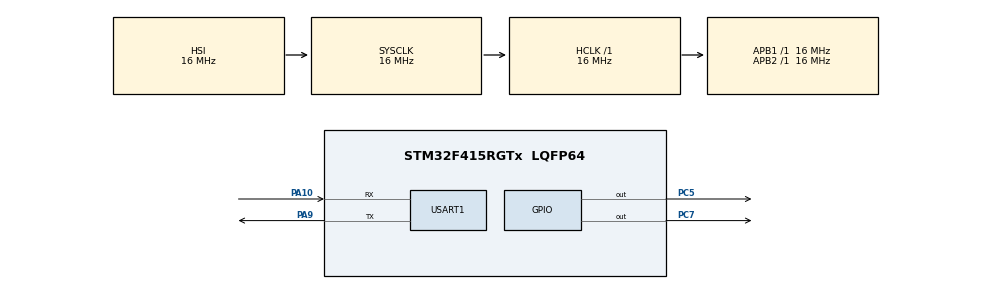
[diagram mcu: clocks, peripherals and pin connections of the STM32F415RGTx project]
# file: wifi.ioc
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Dma.Request0=USART1_RX
Dma.Request1=USART1_TX
Dma.USART1_RX.0.Direction=DMA_PERIPH_TO_MEMORY
Dma.USART1_RX.0.FIFOMode=DMA_FIFOMODE_DISABLE
Dma.USART1_RX.0.Instance=DMA2_Stream2
Dma.USART1_RX.0.MemDataAlignment=DMA_MDATAALIGN_BYTE
Dma.USART1_RX.0.MemInc=DMA_MINC_ENABLE
Dma.USART1_RX.0.Mode=DMA_NORMAL
Dma.USART1_RX.0.PeriphDataAlignment=DMA_PDATAALIGN_BYTE
Dma.USART1_RX.0.PeriphInc=DMA_PINC_DISABLE
Dma.USART1_RX.0.Priority=DMA_PRIORITY_HIGH
Dma.USART1_TX.1.Direction=DMA_MEMORY_TO_PERIPH
Dma.USART1_TX.1.FIFOMode=DMA_FIFOMODE_DISABLE
Dma.USART1_TX.1.Instance=DMA2_Stream7
Dma.USART1_TX.1.MemDataAlignment=DMA_MDATAALIGN_BYTE
Dma.USART1_TX.1.MemInc=DMA_MINC_ENABLE
Dma.USART1_TX.1.Mode=DMA_NORMAL
Dma.USART1_TX.1.PeriphDataAlignment=DMA_PDATAALIGN_BYTE
Dma.USART1_TX.1.PeriphInc=DMA_PINC_DISABLE
Dma.USART1_TX.1.Priority=DMA_PRIORITY_HIGH
Mcu.Family=STM32F4
Mcu.Name=STM32F415RGTx
Mcu.Package=LQFP64
NVIC.DMA2_Stream2_IRQn=true\:1\:0\:true\:false\:true\:false\:true\:true
NVIC.DMA2_Stream7_IRQn=true\:1\:0\:true\:false\:true\:false\:true\:true
NVIC.PriorityGroup=NVIC_PRIORITYGROUP_4
NVIC.USART1_IRQn=true\:1\:0\:true\:false\:true\:true\:true\:true
PA10.Mode=Asynchronous
PA10.Signal=USART1_RX
PA14.Signal=SYS_JTCK-SWCLK
PA9.Mode=Asynchronous
PA9.Signal=USART1_TX
PC5.Signal=GPIO_Output
PC7.Signal=GPIO_Output
PH0-OSC_IN.Mode=HSE-External-Oscillator
PH0-OSC_IN.Signal=RCC_OSC_IN
PH1-OSC_OUT.Mode=HSE-External-Oscillator
PH1-OSC_OUT.Signal=RCC_OSC_OUT
ProjectManager.HeapSize=0x200
ProjectManager.StackSize=0x400
ProjectManager.TargetToolchain=STM32CubeIDE
RCC.AHBFreq_Value=16000000
RCC.APB1Freq_Value=16000000
RCC.APB2Freq_Value=16000000
RCC.CortexFreq_Value=16000000
RCC.HSE_VALUE=25000000
RCC.HSI_VALUE=16000000
RCC.LSE_VALUE=32768
RCC.SYSCLKFreq_VALUE=16000000
RCC.VCOOutputFreq_Value=192000000
USART1.VirtualMode=VM_ASYNC
board=custom

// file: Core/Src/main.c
/* USER CODE BEGIN Header */
/**
 **
 * @file           : main.c
 * @brief          : Main program body
 **
 * @attention
 *
 * Copyright (c) 2024 STMicroelectronics.
 * All rights reserved.
 *
 * This software is licensed under terms that can be found in the LICENSE file
 * in the root directory of this software component.
 * If no LICENSE file comes with this software, it is provided AS-IS.
 *
 **
 */
/* USER CODE END Header */
#include "main.h"

/* USER CODE BEGIN Includes */
#include "string.h"
#include <stdbool.h>
/* USER CODE END Includes */

/* USER CODE BEGIN PD */

#define RxBufferSize 100
char TxBuffer[9999];
unsigned char RxBuffer[RxBufferSize];
int i = 0;
int k = 0;
int z = 0;
int *p = &i;
volatile int *q = &k;
volatile int *a = &z;
uint32_t lastRxTime = 0;
uint32_t delayTime = 3000;

/* Yeni Bayrak Değişkeni */

/* USER CODE END PD */

UART_HandleTypeDef huart1;
DMA_HandleTypeDef hdma_usart1_rx;
DMA_HandleTypeDef hdma_usart1_tx;

void SystemClock_Config(void);
static void MX_GPIO_Init(void);
static void MX_DMA_Init(void);
static void MX_USART1_UART_Init(void);
/* USER CODE BEGIN PFP */
void TransmitWifitoMQTTfunction();
/* USER CODE END PFP */

/* USER CODE BEGIN 0 */

void SetupDMAUSART() {
	HAL_UARTEx_ReceiveToIdle_DMA(&huart1, RxBuffer, RxBufferSize);

	__HAL_DMA_DISABLE_IT(&hdma_usart1_rx, DMA_IT_HT);
}

void HAL_UARTEx_RxEventCallback(UART_HandleTypeDef *huart, uint16_t Size) {

	HAL_Delay(2000);
	if (huart->Instance == USART1) {

		memcpy(RxBuffer, huart->pRxBuffPtr, Size);
		if (*p < 3) {

			if ((strncmp((const char*) RxBuffer, "OK", 2) == 0)
					|| (strncmp((const char*) RxBuffer, "\r\nready\r\n", 5) == 0)) {
				memset(RxBuffer, 0, sizeof(RxBuffer));
				if (*p == 2) {
					HAL_GPIO_WritePin(GPIOA, GPIO_PIN_0, GPIO_PIN_SET);
				}
			} else {
				memset(RxBuffer, 0, sizeof(RxBuffer));
				HAL_GPIO_WritePin(GPIOC, GPIO_PIN_3, GPIO_PIN_SET);
				Error_Handler();
			}

		}

		else if (strncmp((const char*) RxBuffer, "AT+QSTAAPINFO", 12) == 0) {
			memcpy(TxBuffer, RxBuffer, sizeof(RxBuffer));
			memset(RxBuffer, 0, sizeof(RxBuffer));
			HAL_UART_Transmit_DMA(&huart1, (uint8_t*) TxBuffer,
					strlen(TxBuffer));
			// HAL_GPIO_WritePin(GPIOA, GPIO_PIN_3, GPIO_PIN_SET); // yapildi

		}

		else if (strncmp((const char*) RxBuffer, "ERROR", 5) == 0) {
			HAL_GPIO_WritePin(GPIOA, GPIO_PIN_0, GPIO_PIN_RESET);
			HAL_GPIO_WritePin(GPIOA, GPIO_PIN_1, GPIO_PIN_SET); //SADECE KIRMIZI
			HAL_GPIO_WritePin(GPIOC, GPIO_PIN_3, GPIO_PIN_RESET);
			memset(RxBuffer, 0, sizeof(RxBuffer));

		} else if (strncmp((const char*) RxBuffer, "+QSTASTAT:WLAN_CONNECTED",
				24) == 0) {

			HAL_GPIO_WritePin(GPIOC, GPIO_PIN_3, GPIO_PIN_SET);
			*a = 1;

			memset(RxBuffer, 0, sizeof(RxBuffer));

		}
		else if (strncmp((const char*) RxBuffer, "+QSTASTAT:AP_DISCONNECT",
						23) == 0) {

					HAL_GPIO_WritePin(GPIOC, GPIO_PIN_3, GPIO_PIN_RESET);
					*a = 1;

					memset(RxBuffer, 0, sizeof(RxBuffer));

				}
//+QIURC: "recv",10
		else if (strncmp((const char*) RxBuffer, "\r\n+QIURC: \"recv\"", 16)
				== 0) {
			char atCommand[100];
			char *ptr;
			int length;
			ptr = strstr(RxBuffer, "+QIURC: \"recv\",");
			// Sayıyı ayrıştır
			sscanf(ptr, "+QIURC: \"recv\",%d", &length);

			// Yeni string'i oluştur: "AT+QIRD=<length>,256"
			snprintf(atCommand, sizeof(atCommand),"AT+QIRD=%d,256\r\n", length);

			HAL_UART_Transmit_DMA(&huart1, (uint8_t*) atCommand,
					strlen(atCommand));
			memset(RxBuffer, 0, sizeof(RxBuffer));

		} else if (strncmp((const char*) RxBuffer, "+QIRD:", 6) == 0) {
		//	HAL_Delay(1000);

			/*for (int j=0;j<strlen(RxBuffer)-17;j++)
			 {
			 Wifi[j]=RxBuffer[11+j];

			 }*/
			char atCommand[100] = "AT+QSTAAPINFO=";
			char *ptr;
			int length;
			ptr = strstr(RxBuffer, "D: ");
			sscanf(ptr, "D: %d\r\n", &length);
			ptr = strstr(ptr, "\r\n") + 2; // 2 karakter ilerle çünkü "\r\n" atlanacak
			char Wifi[length + 1];        // Uzunluk kadar alan ayır
			strncpy(Wifi, ptr, length);   // Uzunluk kadar kopyala
			Wifi[length] = '\0';          // Null-terminator ekle
			strcat(atCommand, Wifi);
			strcat(atCommand, "\r\n");

			HAL_UART_Transmit_DMA(&huart1, (uint8_t*) atCommand,
					strlen(atCommand));

		}

		else {
			memset(RxBuffer, 0, sizeof(RxBuffer));

		}

	}

	HAL_UARTEx_ReceiveToIdle_DMA(&huart1, RxBuffer, RxBufferSize);
	__HAL_DMA_DISABLE_IT(&hdma_usart1_rx, DMA_IT_HT);

}

void TransmitapFunction() {

	char *Settings[] = { "AT+QSOFTAP=\"Rise_X_Gate_Away\"\r\n",
			"AT+QIOPEN=1,\"TCP LISTENER\",\"\",\"\",20,0\r\n",
			"AT+QIOPEN=2,\"TCP\",\"192.168.19.1\",20.10.0\r\n",
			//	 "AT+QISEND=2,30,\"Superbox_WiFi_EFCA,NA2TRGLL5Y1\"\r\n",
			//"AT+QIRD=10,256\r\n"

	};

	for (*p = 0; *p < 3; (*p)++) {
		memset(TxBuffer, 0, sizeof(*p));
		strcpy(TxBuffer, Settings[*p]);

		HAL_UART_Transmit_DMA(&huart1, (uint8_t*) TxBuffer, strlen(TxBuffer));

		HAL_Delay(700);

	}
}

void BLEHIGH() {
	HAL_GPIO_WritePin(GPIOC, GPIO_PIN_7, GPIO_PIN_SET);
}

void TransmitWifitoMQTTfunction()

{
	HAL_Delay(700);
	char *SettingsWifi[] = { "AT+QMTCFG=\"version\",1,4\r\n", // MQTT versiyonunu ayarlar (3.1.1)
			"AT+QMTOPEN=1,\"104.248.21.33\",1883\r\n", // MQTT sunucusuna bağlantı açar (IP: 104.248.21.33, port: 1883)
			"AT+QMTCONN=1,\"Client8320\"\r\n", // MQTT sunucusuna Client8320 kimliğiyle bağlanır
			"AT+QMTSUB=1,1,\"risex/1\",1\r\n", // risex/1 konusuna abone olur, QoS=1
			"AT+QMTPUB=1,1,1,0,\"risex/1\",5,\"Hello\"\r\n" // risex/1 konusuna mesaj yayınlar (26 karakter)
			};

	for (*q = 0; *q < 5; (*q)++) {
		memset(TxBuffer, 0, sizeof(*q));
		strcpy(TxBuffer, SettingsWifi[*q]);

		HAL_UART_Transmit_DMA(&huart1, (uint8_t*) TxBuffer, strlen(TxBuffer));

		HAL_Delay(500);
	}

}

void TransmitBleFunction() {
	char *Settings[] = { "AT+QRST\r\n",
			"AT+QBLEINIT=3\r\n",
			"AT+QBLENAME=Rise_X_Gate_Away\r\n"

	};

	for (*p = 0; *p < 3; (*p)++) {
		memset(TxBuffer, 0, sizeof(*p));
		strcpy(TxBuffer, Settings[*p]);

		HAL_UART_Transmit_DMA(&huart1, (uint8_t*) TxBuffer, strlen(TxBuffer));

		HAL_Delay(500);

	}

}
/* USER CODE END 0 */

int main(void) {

	/* MCU Configuration--------------------------------------------------------*/

	/* Reset of all peripherals, Initializes the Flash interface and the Systick. */
	HAL_Init();

	/* Configure the system clock */
	SystemClock_Config();

	/* Initialize all configured peripherals */
	MX_GPIO_Init();
	MX_DMA_Init();
	MX_USART1_UART_Init();
	/* USER CODE BEGIN 2 */
	BLEHIGH();
	SetupDMAUSART();
	TransmitBleFunction();
	TransmitapFunction();

//HAL_UART_Transmit_DMA(&huart1, (uint8_t*)TxBuffer, strlen(TxBuffer));

	/* USER CODE END 2 */

	/* Infinite loop */
	while (1) {

	}
}

void SystemClock_Config(void) {
	RCC_OscInitTypeDef RCC_OscInitStruct = { 0 };
	RCC_ClkInitTypeDef RCC_ClkInitStruct = { 0 };

	/** Configure the main internal regulator output voltage
	 */
	__HAL_RCC_PWR_CLK_ENABLE();
	__HAL_PWR_VOLTAGESCALING_CONFIG(PWR_REGULATOR_VOLTAGE_SCALE1);

	/** Initializes the RCC Oscillators according to the specified parameters
	 * in the RCC_OscInitTypeDef structure.
	 */
	RCC_OscInitStruct.OscillatorType = RCC_OSCILLATORTYPE_HSI;
	RCC_OscInitStruct.HSIState = RCC_HSI_ON;
	RCC_OscInitStruct.HSICalibrationValue = RCC_HSICALIBRATION_DEFAULT;
	RCC_OscInitStruct.PLL.PLLState = RCC_PLL_NONE;
	if (HAL_RCC_OscConfig(&RCC_OscInitStruct) != HAL_OK) {
		Error_Handler();
	}

	/** Initializes the CPU, AHB and APB buses clocks
	 */
	RCC_ClkInitStruct.ClockType = RCC_CLOCKTYPE_HCLK | RCC_CLOCKTYPE_SYSCLK
			| RCC_CLOCKTYPE_PCLK1 | RCC_CLOCKTYPE_PCLK2;
	RCC_ClkInitStruct.SYSCLKSource = RCC_SYSCLKSOURCE_HSI;
	RCC_ClkInitStruct.AHBCLKDivider = RCC_SYSCLK_DIV1;
	RCC_ClkInitStruct.APB1CLKDivider = RCC_HCLK_DIV1;
	RCC_ClkInitStruct.APB2CLKDivider = RCC_HCLK_DIV1;

	if (HAL_RCC_ClockConfig(&RCC_ClkInitStruct, FLASH_LATENCY_0) != HAL_OK) {
		Error_Handler();
	}
}

static void MX_USART1_UART_Init(void) {

	huart1.Instance = USART1;
	huart1.Init.BaudRate = 115200;
	huart1.Init.WordLength = UART_WORDLENGTH_8B;
	huart1.Init.StopBits = UART_STOPBITS_1;
	huart1.Init.Parity = UART_PARITY_NONE;
	huart1.Init.Mode = UART_MODE_TX_RX;
	huart1.Init.HwFlowCtl = UART_HWCONTROL_NONE;
	huart1.Init.OverSampling = UART_OVERSAMPLING_16;
	if (HAL_UART_Init(&huart1) != HAL_OK) {
		Error_Handler();
	}

}

static void MX_DMA_Init(void) {

	/* DMA controller clock enable */
	__HAL_RCC_DMA2_CLK_ENABLE();

	/* DMA interrupt init */
	/* DMA2_Stream2_IRQn interrupt configuration */
	HAL_NVIC_SetPriority(DMA2_Stream2_IRQn, 1, 0);
	HAL_NVIC_EnableIRQ(DMA2_Stream2_IRQn);
	/* DMA2_Stream7_IRQn interrupt configuration */
	HAL_NVIC_SetPriority(DMA2_Stream7_IRQn, 1, 0);
	HAL_NVIC_EnableIRQ(DMA2_Stream7_IRQn);

}

static void MX_GPIO_Init(void) {
	GPIO_InitTypeDef GPIO_InitStruct = { 0 };

	/* GPIO Ports Clock Enable */
	__HAL_RCC_GPIOH_CLK_ENABLE();
	__HAL_RCC_GPIOC_CLK_ENABLE();
	__HAL_RCC_GPIOA_CLK_ENABLE();

	/*Configure GPIO pin Output Level */
	HAL_GPIO_WritePin(GPIOC, GPIO_PIN_7, GPIO_PIN_RESET);

	/*Configure GPIO pin : PC7 */
	GPIO_InitStruct.Pin = GPIO_PIN_7;
	GPIO_InitStruct.Mode = GPIO_MODE_OUTPUT_PP;
	GPIO_InitStruct.Pull = GPIO_NOPULL;
	GPIO_InitStruct.Speed = GPIO_SPEED_FREQ_LOW;
	HAL_GPIO_Init(GPIOC, &GPIO_InitStruct);

}

void Error_Handler(void) {
	__disable_irq();
	while (1) {
	}
}
